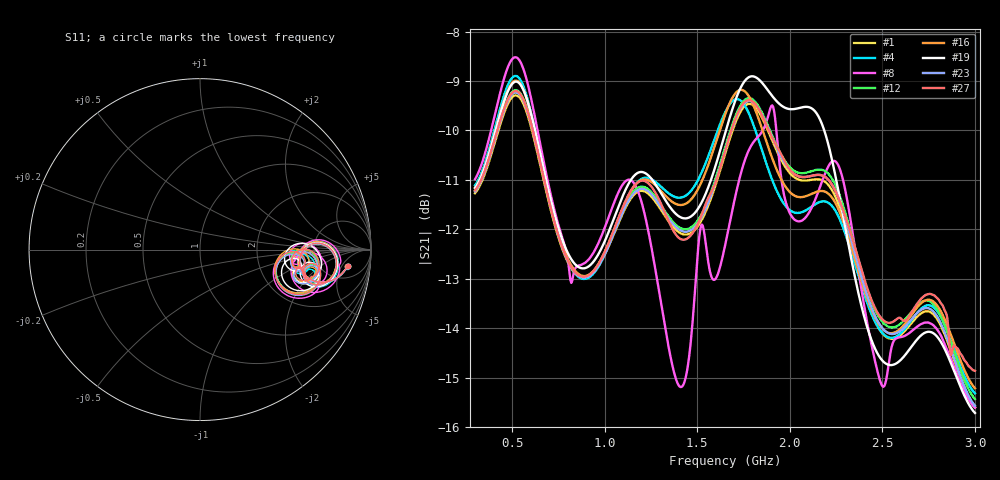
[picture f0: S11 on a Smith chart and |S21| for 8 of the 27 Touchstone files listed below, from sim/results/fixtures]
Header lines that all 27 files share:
! simulated by sim/fixtures_fdtd.py (S12 = S21, S22 not computed)
# HZ S RI R 50
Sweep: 300 MHz to 3 GHz
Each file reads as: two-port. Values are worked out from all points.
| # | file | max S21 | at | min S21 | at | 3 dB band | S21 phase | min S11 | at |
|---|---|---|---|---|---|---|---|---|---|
| 1 | cps_z2_empty.s2p | -9.29 dB | 520 MHz | -15.6 dB | 3 GHz | 1.03 GHz-2.325 GHz | -139 deg at 1.65 GHz | -6.7 dB | 1.79 GHz |
| 2 | cps_z2_flat0_+00+00_genuine.s2p | -8.90 dB | 520 MHz | -15.3 dB | 3 GHz | 1.07 GHz-2.275 GHz | -151 deg at 1.65 GHz | -6.8 dB | 1.735 GHz |
| 3 | cps_z2_flat0_+00+00_grand.s2p | -8.91 dB | 520 MHz | -15.4 dB | 3 GHz | 1.065 GHz-2.275 GHz | -152 deg at 1.65 GHz | -6.8 dB | 1.735 GHz |
| 4 | cps_z2_flat0_+00+00_gref.s2p | -8.90 dB | 520 MHz | -15.3 dB | 3 GHz | 1.07 GHz-2.28 GHz | -151 deg at 1.65 GHz | -6.8 dB | 1.74 GHz |
| 5 | cps_z2_flat0_+00+00_tampered.s2p | -8.48 dB | 515 MHz | -15.3 dB | 3 GHz | 300 MHz-700 MHz | -150 deg at 1.65 GHz | -6.1 dB | 1.835 GHz |
| 6 | cps_z2_flat0_+00+28_genuine.s2p | -8.86 dB | 1.8 GHz | -15.6 dB | 3 GHz | 1.035 GHz-2.295 GHz | -145 deg at 1.65 GHz | -6.2 dB | 2.165 GHz |
| 7 | cps_z2_flat0_+00+28_grand.s2p | -8.86 dB | 1.805 GHz | -15.7 dB | 3 GHz | 1.035 GHz-2.28 GHz | -145 deg at 1.65 GHz | -6.1 dB | 2.165 GHz |
| 8 | cps_z2_flat0_+00+28_tampered.s2p | -8.52 dB | 520 MHz | -15.6 dB | 3 GHz | 300 MHz-720 MHz | -144 deg at 1.65 GHz | -7.0 dB | 1.8 GHz |
| 9 | cps_z2_flat90_+00+00_genuine.s2p | -9.21 dB | 520 MHz | -15.5 dB | 3 GHz | 1.035 GHz-2.33 GHz | -140 deg at 1.65 GHz | -6.8 dB | 1.79 GHz |
| 10 | cps_z2_flat90_+00+00_grand.s2p | -9.22 dB | 520 MHz | -15.5 dB | 3 GHz | 1.035 GHz-2.33 GHz | -140 deg at 1.65 GHz | -6.8 dB | 1.79 GHz |
| 11 | cps_z2_flat90_+00+00_gref.s2p | -9.21 dB | 520 MHz | -15.5 dB | 3 GHz | 1.035 GHz-2.33 GHz | -140 deg at 1.65 GHz | -6.8 dB | 1.79 GHz |
| 12 | cps_z2_flat90_+00+00_tampered.s2p | -9.18 dB | 520 MHz | -15.4 dB | 3 GHz | 1.035 GHz-2.335 GHz | -140 deg at 1.65 GHz | -6.8 dB | 1.79 GHz |
| 13 | cps_z2_flat90_+28+00_genuine.s2p | -9.19 dB | 520 MHz | -14.6 dB | 3 GHz | 1.04 GHz-2.335 GHz | -140 deg at 1.65 GHz | -6.8 dB | 1.785 GHz |
| 14 | cps_z2_flat90_+28+00_grand.s2p | -9.20 dB | 520 MHz | -14.7 dB | 3 GHz | 1.04 GHz-2.33 GHz | -140 deg at 1.65 GHz | -6.8 dB | 1.785 GHz |
| 15 | cps_z2_flat90_+28+00_tampered.s2p | -9.16 dB | 520 MHz | -14.4 dB | 3 GHz | 1.43 GHz-2.345 GHz | -141 deg at 1.65 GHz | -6.9 dB | 1.785 GHz |
| 16 | cps_z12_flat0_+00+00_genuine.s2p | -8.99 dB | 520 MHz | -15.2 dB | 3 GHz | 1.055 GHz-2.3 GHz | -147 deg at 1.65 GHz | -6.9 dB | 1.755 GHz |
| 17 | cps_z12_flat0_+00+00_grand.s2p | -9.00 dB | 520 MHz | -15.3 dB | 3 GHz | 1.055 GHz-2.295 GHz | -147 deg at 1.65 GHz | -6.9 dB | 1.755 GHz |
| 18 | cps_z12_flat0_+00+00_tampered.s2p | -8.71 dB | 520 MHz | -15.2 dB | 3 GHz | 300 MHz-725 MHz | -156 deg at 1.65 GHz | -6.0 dB | 1.835 GHz |
| 19 | cps_z12_flat0_+00+28_genuine.s2p | -8.90 dB | 1.795 GHz | -15.7 dB | 3 GHz | 1.04 GHz-2.295 GHz | -143 deg at 1.65 GHz | -6.2 dB | 1.785 GHz |
| 20 | cps_z12_flat0_+00+28_grand.s2p | -8.91 dB | 1.8 GHz | -15.8 dB | 3 GHz | 1.04 GHz-2.28 GHz | -143 deg at 1.65 GHz | -6.1 dB | 1.785 GHz |
| 21 | cps_z12_flat0_+00+28_tampered.s2p | -8.74 dB | 520 MHz | -15.7 dB | 3 GHz | 300 MHz-735 MHz | -147 deg at 1.65 GHz | -7.0 dB | 1.805 GHz |
| 22 | cps_z12_flat90_+00+00_genuine.s2p | -9.23 dB | 520 MHz | -15.6 dB | 3 GHz | 1.035 GHz-2.33 GHz | -139 deg at 1.65 GHz | -6.8 dB | 1.79 GHz |
| 23 | cps_z12_flat90_+00+00_grand.s2p | -9.23 dB | 520 MHz | -15.6 dB | 3 GHz | 1.035 GHz-2.33 GHz | -140 deg at 1.65 GHz | -6.8 dB | 1.79 GHz |
| 24 | cps_z12_flat90_+00+00_tampered.s2p | -9.21 dB | 520 MHz | -15.5 dB | 3 GHz | 1.035 GHz-2.335 GHz | -139 deg at 1.65 GHz | -6.8 dB | 1.79 GHz |
| 25 | cps_z12_flat90_+28+00_genuine.s2p | -9.23 dB | 520 MHz | -14.9 dB | 3 GHz | 1.035 GHz-2.335 GHz | -140 deg at 1.65 GHz | -6.8 dB | 1.79 GHz |
| 26 | cps_z12_flat90_+28+00_grand.s2p | -9.23 dB | 520 MHz | -14.9 dB | 3 GHz | 1.035 GHz-2.33 GHz | -140 deg at 1.65 GHz | -6.8 dB | 1.785 GHz |
| 27 | cps_z12_flat90_+28+00_tampered.s2p | -9.20 dB | 520 MHz | -14.9 dB | 3 GHz | 1.44 GHz-2.335 GHz | -140 deg at 1.65 GHz | -6.9 dB | 1.785 GHz |
